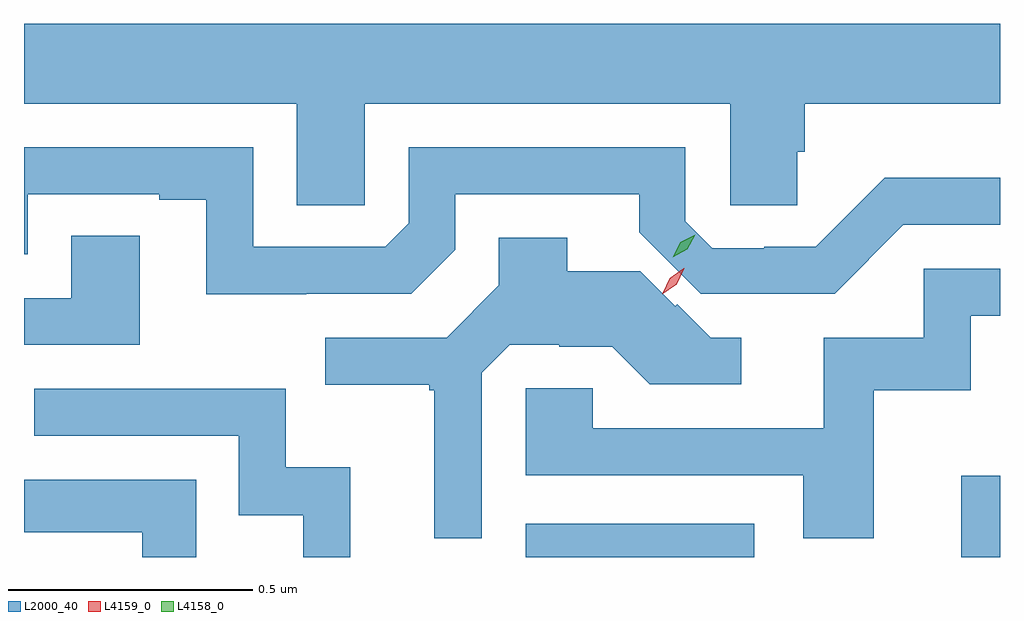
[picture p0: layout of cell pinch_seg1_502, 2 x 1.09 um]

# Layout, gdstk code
import gdstk
lib = gdstk.Library(unit=1e-6, precision=1e-09)
def R(c, l, rs):  # rectangles x0, y0, x1, y1
    for r in rs: c.add(gdstk.rectangle(r[:2], r[2:], *l))
def P(c, l, *ps):  # polygons
    for p in ps: c.add(gdstk.Polygon(p, *l))
L2000_40 = (2000, 40)
L4158_0 = (4158, 0)
L4159_0 = (4159, 0)

pinch_seg1_502 = lib.new_cell('pinch_seg1_502')
R(pinch_seg1_502, L2000_40, [(1084.14,537.483,1084.608,537.552), (1085.033,537.483,1085.112,537.65)])
P(pinch_seg1_502, L2000_40, [(1083.81,538.412),(1084.559,538.412),(1084.559,538.204),(1084.697,538.204),(1084.697,538.314),(1084.712,538.314),(1084.712,538.412),(1085.112,538.412),(1085.112,538.576),(1083.112,538.576),(1083.112,538.412),(1083.671,538.412),(1083.671,538.204),(1083.81,538.204)],
  [(1083.69,538.023),(1083.906,538.023),(1083.996,538.113),(1083.996,538.227),(1084.373,538.227),(1084.373,538.149),(1084.499,538.023),(1084.773,538.023),(1084.914,538.164),(1085.112,538.164),(1085.112,538.261),(1084.876,538.261),(1084.734,538.119),(1084.629,538.119),(1084.629,538.116),(1084.522,538.116),(1084.467,538.171),(1084.467,538.323),(1083.9,538.323),(1083.9,538.167),(1083.852,538.119),(1083.582,538.119),(1083.582,538.323),(1083.112,538.323),(1083.112,538.104),(1083.12,538.104),(1083.12,538.227),(1083.389,538.227),(1083.389,538.215),(1083.485,538.215),(1083.485,538.022),(1083.69,538.022)],
  [(1083.349,538.142),(1083.209,538.142),(1083.209,538.014),(1083.112,538.014),(1083.112,537.918),(1083.349,537.918)],
  [(1084.05,537.861),(1084.107,537.918),(1084.209,537.918),(1084.209,537.914),(1084.317,537.914),(1084.394,537.837),(1084.582,537.837),(1084.582,537.933),(1084.519,537.933),(1084.451,538.001),(1084.447,537.997),(1084.375,538.069),(1084.225,538.069),(1084.225,538.138),(1084.085,538.138),(1084.085,538.04),(1083.978,537.933),(1083.729,537.933),(1083.729,537.836),(1083.942,537.836),(1083.942,537.825),(1083.953,537.825),(1083.953,537.522),(1084.05,537.522)],
  [(1084.853,537.825),(1085.052,537.825),(1085.052,537.978),(1085.112,537.978),(1085.112,538.074),(1084.956,538.074),(1084.956,537.933),(1084.751,537.933),(1084.751,537.747),(1084.277,537.747),(1084.277,537.829),(1084.14,537.829),(1084.14,537.651),(1084.709,537.651),(1084.709,537.522),(1084.853,537.522)],
  [(1083.781,537.667),(1083.648,537.667),(1083.648,537.828),(1083.133,537.828),(1083.133,537.732),(1083.552,537.732),(1083.552,537.569),(1083.684,537.569),(1083.684,537.483),(1083.781,537.483)],
  [(1083.465,537.642),(1083.112,537.642),(1083.112,537.534),(1083.354,537.534),(1083.354,537.483),(1083.465,537.483)])
P(pinch_seg1_502, L4158_0, [(1084.441,538.098),(1084.441,538.098),(1084.457,538.128),(1084.487,538.144),(1084.487,538.144),(1084.487,538.144),(1084.471,538.114),(1084.441,538.098)])
P(pinch_seg1_502, L4159_0, [(1084.42,538.022),(1084.42,538.022),(1084.435,538.055),(1084.464,538.075),(1084.465,538.075),(1084.465,538.075),(1084.45,538.042),(1084.42,538.022)])

lib.write_gds('pinch_seg1_502.gds')
